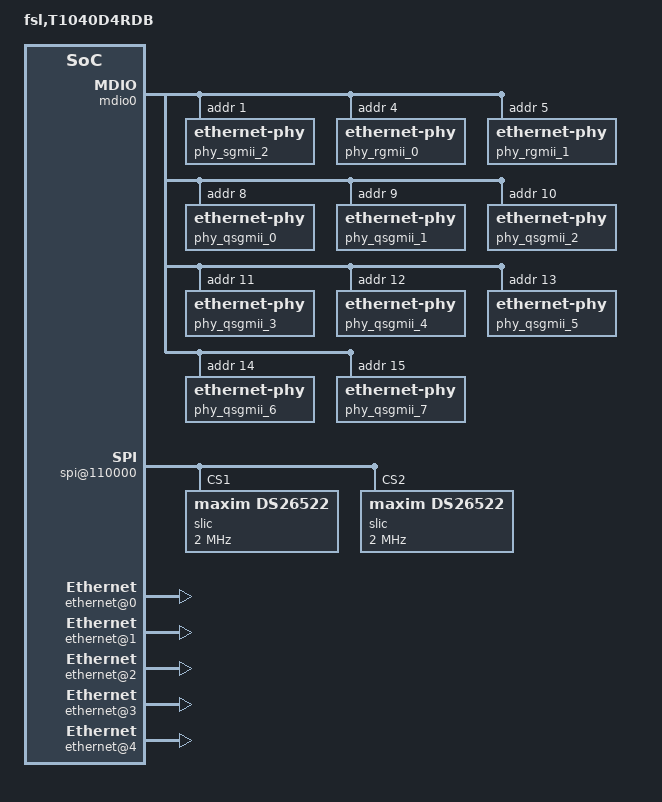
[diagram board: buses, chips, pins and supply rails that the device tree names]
/*
 * T1040D4RDB Device Tree Source
 *
 * Copyright 2015 Freescale Semiconductor Inc.
 *
 * Redistribution and use in source and binary forms, with or without
 * modification, are permitted provided that the following conditions are met:
 *     * Redistributions of source code must retain the above copyright
 *	 notice, this list of conditions and the following disclaimer.
 *     * Redistributions in binary form must reproduce the above copyright
 *	 notice, this list of conditions and the following disclaimer in the
 *	 documentation and/or other materials provided with the distribution.
 *     * Neither the name of Freescale Semiconductor nor the
 *	 names of its contributors may be used to endorse or promote products
 *	 derived from this software without specific prior written permission.
 *
 *
 * ALTERNATIVELY, this software may be distributed under the terms of the
 * GNU General Public License ("GPL") as published by the Free Software
 * Foundation, either version 2 of that License or (at your option) any
 * later version.
 *
 * THIS SOFTWARE IS PROVIDED BY Freescale Semiconductor "AS IS" AND ANY
 * EXPRESS OR IMPLIED WARRANTIES, INCLUDING, BUT NOT LIMITED TO, THE IMPLIED
 * WARRANTIES OF MERCHANTABILITY AND FITNESS FOR A PARTICULAR PURPOSE ARE
 * DISCLAIMED. IN NO EVENT SHALL Freescale Semiconductor BE LIABLE FOR ANY
 * DIRECT, INDIRECT, INCIDENTAL, SPECIAL, EXEMPLARY, OR CONSEQUENTIAL DAMAGES
 * (INCLUDING, BUT NOT LIMITED TO, PROCUREMENT OF SUBSTITUTE GOODS OR SERVICES;
 * LOSS OF USE, DATA, OR PROFITS; OR BUSINESS INTERRUPTION) HOWEVER CAUSED AND
 * ON ANY THEORY OF LIABILITY, WHETHER IN CONTRACT, STRICT LIABILITY, OR TORT
 * (INCLUDING NEGLIGENCE OR OTHERWISE) ARISING IN ANY WAY OUT OF THE USE OF THIS
 * SOFTWARE, EVEN IF ADVISED OF THE POSSIBILITY OF SUCH DAMAGE.
 */

/include/ "t104xsi-pre.dtsi"
/include/ "t104xd4rdb.dtsi"

/ {
	model = "fsl,T1040D4RDB";
	compatible = "fsl,T1040D4RDB";
	#address-cells = <2>;
	#size-cells = <2>;
	interrupt-parent = <&mpic>;

	aliases {
		phy_rgmii_0 = &phy_rgmii_0;
		phy_rgmii_1 = &phy_rgmii_1;
		phy_sgmii_2 = &phy_sgmii_2;
	};

	soc: soc@ffe000000 {
		fman0: fman@400000 {
			rcpm-wakeup = <&rcpm 0x00000008>;

			enet0: ethernet@e0000 {
				fixed-link = <0 1 1000 0 0>;
				phy-connection-type = "sgmii";
				rcpm-wakeup = <&rcpm 0x80000000>;
			};

			enet1: ethernet@e2000 {
				fixed-link = <1 1 1000 0 0>;
				phy-connection-type = "sgmii";
				rcpm-wakeup = <&rcpm 0x40000000>;
			};

			enet2: ethernet@e4000 {
				phy-handle = <&phy_sgmii_2>;
				phy-connection-type = "sgmii";
				rcpm-wakeup = <&rcpm 0x20000000>;
			};

			enet3: ethernet@e6000 {
				phy-handle = <&phy_rgmii_0>;
				phy-connection-type = "rgmii";
				rcpm-wakeup = <&rcpm 0x10000000>;
			};

			enet4: ethernet@e8000 {
				phy-handle = <&phy_rgmii_1>;
				phy-connection-type = "rgmii";
				rcpm-wakeup = <&rcpm 0x08000000>;
			};

			mdio0: mdio@fc000 {
				phy_sgmii_2: ethernet-phy@01 {
					reg = <0x01>;
				};
				phy_rgmii_0: ethernet-phy@04 {
					reg = <0x04>;
				};
				phy_rgmii_1: ethernet-phy@05 {
					reg = <0x05>;
				};
				phy_qsgmii_0: ethernet-phy@08 {
					reg = <0x08>;
					interrupts = <0 1 0 0>;
				};
				phy_qsgmii_1: ethernet-phy@09 {
					reg = <0x09>;
					interrupts = <0 1 0 0>;
				};
				phy_qsgmii_2: ethernet-phy@0a {
					reg = <0x0a>;
					interrupts = <0 1 0 0>;
				};
				phy_qsgmii_3: ethernet-phy@0b {
					reg = <0x0b>;
					interrupts = <0 1 0 0>;
				};
				phy_qsgmii_4: ethernet-phy@0c {
					reg = <0x0c>;
					interrupts = <0 1 0 0>;
				};
				phy_qsgmii_5: ethernet-phy@0d {
					reg = <0x0d>;
					interrupts = <0 1 0 0>;
				};
				phy_qsgmii_6: ethernet-phy@0e {
					reg = <0x0e>;
					interrupts = <0 1 0 0>;
				};
				phy_qsgmii_7: ethernet-phy@0f {
					reg = <0x0f>;
					interrupts = <0 1 0 0>;
				};
			};
		};

		l2switch: l2switch@800000 {
			port@100000 {
				phy-connection-type = "qsgmii";
				phy-handle = <&phy_qsgmii_0>;
				};
			port@110000 {
				phy-connection-type = "qsgmii";
				phy-handle = <&phy_qsgmii_1>;
			};
			port@120000 {
				phy-connection-type = "qsgmii";
				phy-handle = <&phy_qsgmii_2>;
			};
			port@130000 {
				phy-connection-type = "qsgmii";
				phy-handle = <&phy_qsgmii_3>;
			};
			port@140000 {
				phy-connection-type = "qsgmii";
				phy-handle = <&phy_qsgmii_4>;
			};
			port@150000 {
				phy-connection-type = "qsgmii";
				phy-handle = <&phy_qsgmii_5>;
			};
			port@160000 {
				phy-connection-type = "qsgmii";
				phy-handle = <&phy_qsgmii_6>;
			};
			port@170000 {
				phy-connection-type = "qsgmii";
				phy-handle = <&phy_qsgmii_7>;
			};
		};

		spi@110000 {
			slic@1 {
				compatible = "maxim,ds26522";
				reg = <1>;
				spi-max-frequency = <2000000>;
			};

			slic@2 {
				compatible = "maxim,ds26522";
				reg = <2>;
				spi-max-frequency = <2000000>;
			};
		};
	};

	fsl,dpaa {
		compatible = "fsl,t1040-dpaa", "fsl,dpaa";
		ethernet@0 {
			compatible = "fsl,t1040-dpa-ethernet",
					"fsl,dpa-ethernet";
			fsl,fman-mac = <&enet0>;
		};
		ethernet@1 {
			compatible = "fsl,t1040-dpa-ethernet",
					"fsl,dpa-ethernet";
			fsl,fman-mac = <&enet1>;
		};
		ethernet@2 {
			compatible = "fsl,t1040-dpa-ethernet",
					"fsl,dpa-ethernet";
			fsl,fman-mac = <&enet2>;
		};
		ethernet@3 {
			compatible = "fsl,t1040-dpa-ethernet",
					"fsl,dpa-ethernet";
			fsl,fman-mac = <&enet3>;
		};
		ethernet@4 {
			compatible = "fsl,t1040-dpa-ethernet",
					"fsl,dpa-ethernet";
			fsl,fman-mac = <&enet4>;
		};
	};
};

#include "t1040si-post.dtsi"
/include/ "qoriq-dpaa-res3.dtsi"
